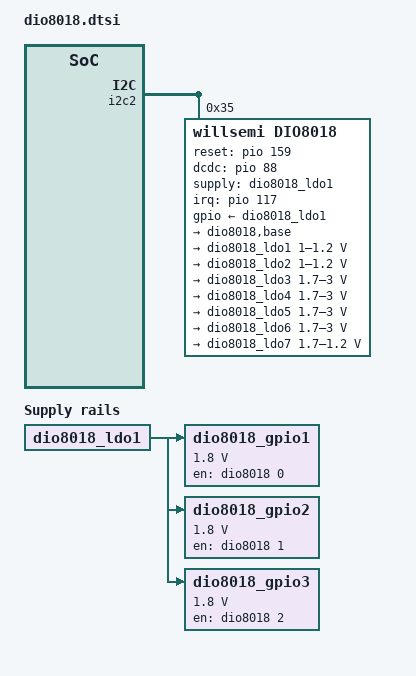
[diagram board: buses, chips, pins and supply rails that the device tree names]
// SPDX-License-Identifier: GPL-2.0
//
// Copyright (c) 2021 MediaTek Inc.

&odm {
	dio8018_eint:dio8018_eint {
	};

	dio8018_gpio1: dio8018-gpio1 {
		compatible = "regulator-fixed";
		regulator-name = "dio8018-gpio1";
		regulator-min-microvolt = <1800000>;
		regulator-max-microvolt = <1800000>;
		vin-supply = <&dio8018_ldo1>;
		enable-active-high;
		gpio = <&dio8018 0 0x0>;
	};

	dio8018_gpio2: dio8018-gpio2 {
		compatible = "regulator-fixed";
		regulator-name = "dio8018-gpio2";
		regulator-min-microvolt = <1800000>;
		regulator-max-microvolt = <1800000>;
		vin-supply = <&dio8018_ldo1>;
		enable-active-high;
		gpio = <&dio8018 1 0x0>;
	};

	dio8018_gpio3: dio8018-gpio3 {
		compatible = "regulator-fixed";
		regulator-name = "dio8018-gpio3";
		regulator-min-microvolt = <1800000>;
		regulator-max-microvolt = <1800000>;
		vin-supply = <&dio8018_ldo1>;
		enable-active-high;
		gpio = <&dio8018 2 0x0>;
	};
};

&i2c2 {
	dio8018: dio8018@35 {
		status = "ok";
		compatible = "willsemi,dio8018";
		reg = <0x35>;
		wakeup-source;
		/* Temporarily choose unused gpios */
		interrupts-extended = <&pio 117 0x0>;
		reset-gpio = <&pio 159 0x0>;
		dcdc-gpio   = <&pio 88 0x0>;
		gpio-supply = <&dio8018_ldo1>;
		gpio-controller;
		#gpio-cells = <2>;
		regulator_nb = "dio8018-ldo1", "dio8018-ldo2",
				"dio8018-ldo3", "dio8018-ldo4",
				"dio8018-ldo5", "dio8018-ldo6",
				"dio8018-ldo7", "dio8018-ldo8";
		regulators {
			BASE {
				regulator-name = "dio8018,base";
				oc_shutdown_all = <0>;
				pgb_shutdown_all = <0>;
			};
			dio8018_ldo1: LDO1 {
				regulator-name = "dio8018-ldo1";
				regulator-min-microvolt = <1000000>;
				regulator-max-microvolt = <1200000>;
				regulator-active-discharge;
				oc_ptsel = <1>;
				pgb_ptsel = <1>;
				soft_start_time_sel = <1>;
			};
			dio8018_ldo2: LDO2 {
				regulator-name = "dio8018-ldo2";
				regulator-min-microvolt = <1000000>;
				regulator-max-microvolt = <1200000>;
				regulator-active-discharge;
				oc_ptsel = <1>;
				pgb_ptsel = <1>;
				soft_start_time_sel = <1>;
			};
			dio8018_ldo3: LDO3 {
				regulator-name = "dio8018-ldo3";
				regulator-min-microvolt = <1700000>;
				regulator-max-microvolt = <3000000>;
				regulator-active-discharge;
				oc_ptsel = <1>;
				pgb_ptsel = <1>;
				soft_start_time_sel = <1>;
			};
			dio8018_ldo4: LDO4 {
				regulator-name = "dio8018-ldo4";
				regulator-min-microvolt = <1700000>;
				regulator-max-microvolt = <3000000>;
				regulator-active-discharge;
				oc_ptsel = <1>;
				pgb_ptsel = <1>;
				soft_start_time_sel = <1>;
			};
			dio8018_ldo5: LDO5 {
				regulator-name = "dio8018-ldo5";
				regulator-min-microvolt = <1700000>;
				regulator-max-microvolt = <3000000>;
				regulator-active-discharge;
				oc_ptsel = <1>;
				pgb_ptsel = <1>;
				soft_start_time_sel = <1>;
			};
			dio8018_ldo6: LDO6 {
				regulator-name = "dio8018-ldo6";
				regulator-min-microvolt = <1700000>;
				regulator-max-microvolt = <3000000>;
				regulator-active-discharge;
				oc_ptsel = <1>;
				pgb_ptsel = <1>;
				soft_start_time_sel = <1>;
			};
			dio8018_ldo7: LDO7 {
				regulator-name = "dio8018-ldo7";
				regulator-min-microvolt = <1700000>;
				regulator-max-microvolt = <1200000>;
				regulator-active-discharge;
				oc_ptsel = <1>;
				pgb_ptsel = <1>;
				soft_start_time_sel = <1>;
			};
		};
	};
};
